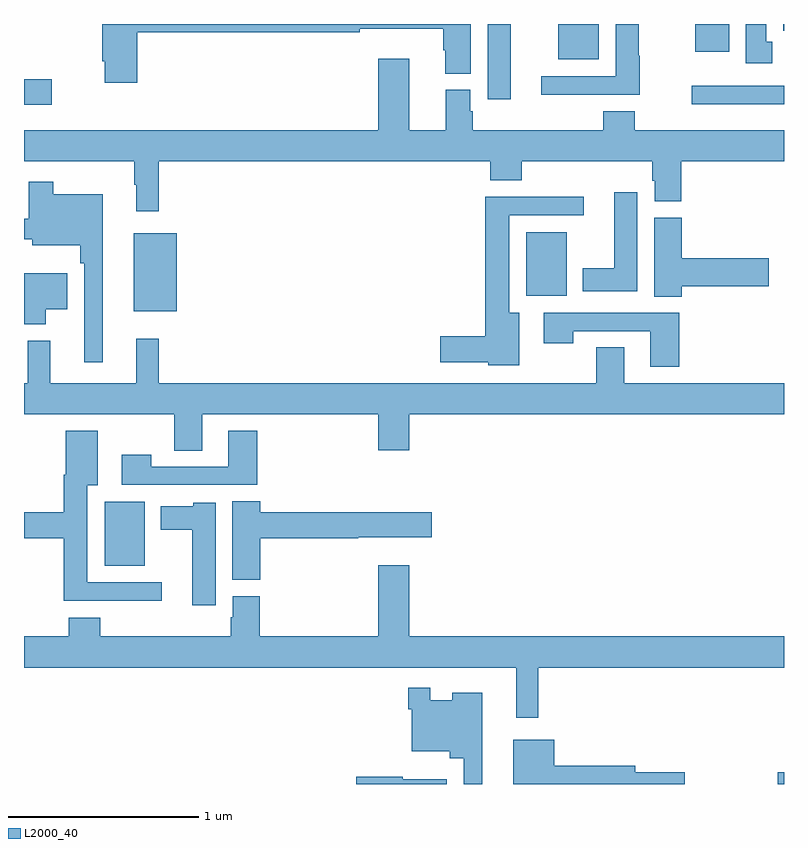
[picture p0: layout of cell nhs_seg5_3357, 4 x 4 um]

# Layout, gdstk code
import gdstk
lib = gdstk.Library(unit=1e-6, precision=1e-09)
def R(c, l, rs):  # rectangles x0, y0, x1, y1
    for r in rs: c.add(gdstk.rectangle(r[:2], r[2:], *l))
def P(c, l, *ps):  # polygons
    for p in ps: c.add(gdstk.Polygon(p, *l))
L2000_40 = (2000, 40)

nhs_seg5_3357 = lib.new_cell('nhs_seg5_3357')
R(nhs_seg5_3357, L2000_40, [(310.968,870.799,311,870.86), (307.424,871.949,307.636,872.284), (307.577,873.287,307.804,873.697), (309.644,873.368,309.856,873.703), (307,874.373,307.147,874.508), (310.515,874.376,311,874.473), (309.44,874.404,309.562,874.799), (309.812,874.613,310.024,874.799), (310.532,874.652,310.711,874.799), (310.995,874.764,311,874.799)])
P(nhs_seg5_3357, L2000_40, [(310.939,874.705),(310.906,874.705),(310.906,874.799),(310.799,874.799),(310.799,874.593),(310.939,874.593)],
  [(310.241,874.631),(310.236,874.631),(310.236,874.799),(310.115,874.799),(310.115,874.524),(309.723,874.524),(309.723,874.427),(310.241,874.427)],
  [(307.595,874.756),(308.768,874.756),(308.768,874.775),(309.206,874.775),(309.206,874.661),(309.218,874.661),(309.218,874.537),(309.352,874.537),(309.352,874.799),(307.412,874.799),(307.412,874.603),(307.424,874.603),(307.424,874.491),(307.595,874.491)],
  [(309.455,873.977),(309.62,873.977),(309.62,874.076),(310.307,874.076),(310.307,873.975),(310.319,873.975),(310.319,873.865),(310.46,873.865),(310.46,874.076),(311,874.076),(311,874.24),(310.214,874.24),(310.214,874.339),(310.049,874.339),(310.049,874.24),(309.362,874.24),(309.362,874.341),(309.349,874.341),(309.349,874.452),(309.221,874.452),(309.221,874.24),(309.028,874.24),(309.028,874.615),(308.864,874.615),(308.864,874.24),(307,874.24),(307,874.076),(307.581,874.076),(307.581,873.953),(307.592,873.953),(307.592,873.813),(307.709,873.813),(307.709,874.076),(309.455,874.076)],
  [(307.414,873.904),(307.153,873.904),(307.153,873.97),(307.024,873.97),(307.024,873.775),(307,873.775),(307,873.665),(307.043,873.665),(307.043,873.635),(307.297,873.635),(307.297,873.539),(307.317,873.539),(307.317,873.018),(307.414,873.018)],
  [(310.228,873.913),(310.106,873.913),(310.106,873.514),(309.941,873.514),(309.941,873.392),(310.228,873.392)],
  [(309.607,873.28),(309.553,873.28),(309.553,873.792),(309.946,873.792),(309.946,873.89),(309.428,873.89),(309.428,873.155),(309.192,873.155),(309.192,873.02),(309.444,873.02),(309.444,873.002),(309.607,873.002)],
  [(310.463,873.419),(310.921,873.419),(310.921,873.566),(310.463,873.566),(310.463,873.78),(310.316,873.78),(310.316,873.364),(310.463,873.364)],
  [(307.114,873.299),(307.228,873.299),(307.228,873.487),(307,873.487),(307,873.218),(307.114,873.218)],
  [(310.448,873.279),(309.735,873.279),(309.735,873.12),(309.891,873.12),(309.891,873.183),(310.295,873.183),(310.295,872.994),(310.448,872.994)],
  [(307.939,872.744),(308.864,872.744),(308.864,872.556),(309.028,872.556),(309.028,872.744),(311,872.744),(311,872.908),(310.159,872.908),(310.159,873.098),(310.012,873.098),(310.012,872.908),(307.709,872.908),(307.709,873.142),(307.592,873.142),(307.592,872.908),(307.139,872.908),(307.139,873.133),(307.021,873.133),(307.021,872.908),(307,872.908),(307,872.744),(307.792,872.744),(307.792,872.554),(307.939,872.554)],
  [(308.228,872.659),(308.075,872.659),(308.075,872.469),(307.671,872.469),(307.671,872.533),(307.515,872.533),(307.515,872.373),(308.228,872.373)],
  [(307.726,871.86),(307.333,871.86),(307.333,872.372),(307.387,872.372),(307.387,872.659),(307.22,872.659),(307.22,872.426),(307.208,872.426),(307.208,872.228),(307,872.228),(307,872.092),(307.208,872.092),(307.208,871.763),(307.726,871.763)],
  [(308.243,872.092),(308.76,872.092),(308.76,872.099),(309.145,872.099),(309.145,872.229),(308.76,872.229),(308.76,872.228),(308.243,872.228),(308.243,872.288),(308.096,872.288),(308.096,871.873),(308.243,871.873)],
  [(308.008,872.278),(307.89,872.278),(307.89,872.26),(307.721,872.26),(307.721,872.138),(307.886,872.138),(307.886,871.74),(308.008,871.74)],
  [(309.028,871.951),(308.864,871.951),(308.864,871.576),(308.24,871.576),(308.24,871.788),(308.099,871.788),(308.099,871.677),(308.087,871.677),(308.087,871.576),(307.4,871.576),(307.4,871.675),(307.235,871.675),(307.235,871.576),(307,871.576),(307,871.412),(309.59,871.412),(309.59,871.149),(309.707,871.149),(309.707,871.412),(311,871.412),(311,871.576),(309.028,871.576)],
  [(309.412,871.279),(309.254,871.279),(309.254,871.24),(309.138,871.24),(309.138,871.306),(309.022,871.306),(309.022,871.193),(309.042,871.193),(309.042,870.971),(309.242,870.971),(309.242,870.935),(309.315,870.935),(309.315,870.799),(309.412,870.799)],
  [(310.477,870.86),(310.216,870.86),(310.216,870.896),(309.79,870.896),(309.79,871.033),(309.575,871.033),(309.575,870.799),(310.477,870.799)],
  [(309.226,870.823),(308.994,870.823),(308.994,870.836),(308.748,870.836),(308.748,870.799),(309.226,870.799)])

lib.write_gds('nhs_seg5_3357.gds')
